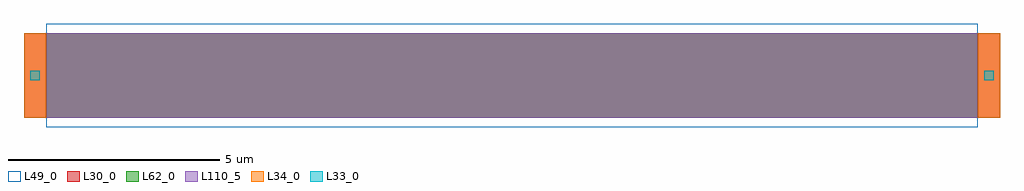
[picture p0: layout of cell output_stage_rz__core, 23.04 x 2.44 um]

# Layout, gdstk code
import gdstk
lib = gdstk.Library(unit=1e-6, precision=1e-09)
def R(c, l, rs):  # rectangles x0, y0, x1, y1
    for r in rs: c.add(gdstk.rectangle(r[:2], r[2:], *l))
L30_0 = (30, 0)
L33_0 = (33, 0)
L34_0 = (34, 0)
L49_0 = (49, 0)
L62_0 = (62, 0)
L110_5 = (110, 5)

output_stage_rz__core = lib.new_cell('output_stage_rz__core')
R(output_stage_rz__core, L30_0, [(0,0,23.04,2)])
R(output_stage_rz__core, L33_0, [(0.15,0.89,0.37,1.11), (22.67,0.89,22.89,1.11)])
R(output_stage_rz__core, L34_0, [(0,0,0.52,2), (22.52,0,23.04,2)])
R(output_stage_rz__core, L49_0, [(0.52,-0.22,22.52,2.22)])
R(output_stage_rz__core, L62_0, [(0.52,0,22.52,2)])
R(output_stage_rz__core, L110_5, [(0.52,0,22.52,2)])

lib.write_gds('output_stage_rz__core.gds')
